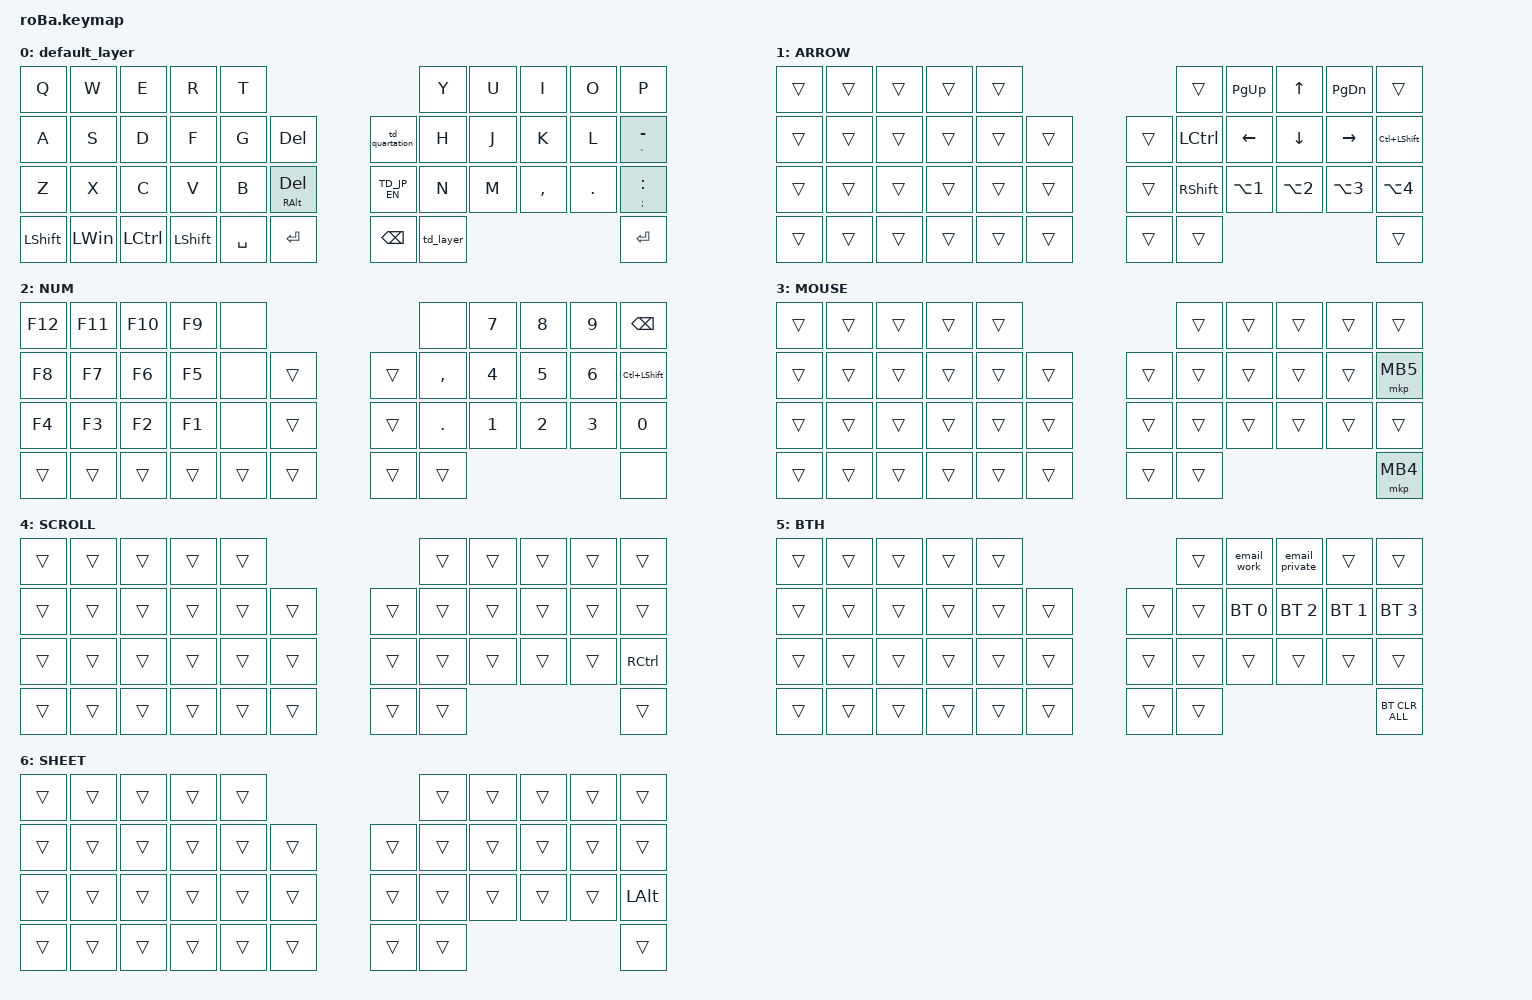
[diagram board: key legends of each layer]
#include <behaviors.dtsi>
#include <dt-bindings/zmk/bt.h>
#include <dt-bindings/zmk/keys.h>
#include <dt-bindings/zmk/pointing.h>

&mt {
    flavor = "balanced";
    quick-tap-ms = <0>;
};

&trackball {
    automouse-layer = <3>;
    scroll-layers = <4>;

    arrows {
        layers = <6>;
        bindings =
            <&kp LC(PAGE_DOWN)>,
            <&kp LC(PAGE_UP)>,
            <&kp LS(TAB)>,
            <&kp TAB>;

        tick = <100>;
        wait-ms = <20>;
        tap-ms = <20>;
    };
};

/ {
    combos {
        compatible = "zmk,combos";

        AZ_TAB {
            bindings = <&kp TAB>;
            key-positions = <10 0>;
        };

        eq {
            bindings = <&kp EQUAL>;
            key-positions = <6 7>;
        };

        SD_L_PAR {
            bindings = <&kp LPAR>;
            key-positions = <11 12>;
        };

        DF_R_PAR {
            bindings = <&kp RPAR>;
            key-positions = <12 13>;
        };

        WE_L_BKT {
            bindings = <&kp LBKT>;
            key-positions = <1 2>;
        };

        ER_R_BKT {
            bindings = <&kp RBKT>;
            key-positions = <2 3>;
        };

        RF_F2 {
            bindings = <&kp F2>;
            key-positions = <13 3>;
        };

        ED_F4 {
            bindings = <&kp F4>;
            key-positions = <12 2>;
        };

        DC_Ctrl_C {
            bindings = <&kp LC(C)>;
            key-positions = <12 24>;
        };

        FV_Ctrl_Sft_V {
            bindings = <&kp LC(LS(V))>;
            key-positions = <13 25>;
        };

        XCV_Ctrl_Alt_V {
            bindings = <&kp LA(LC(V))>;
            key-positions = <25 24 23>;
        };

        CV_Ctrl_V {
            bindings = <&kp LC(V)>;
            key-positions = <25 24>;
        };

        P_HASH {
            bindings = <&kp HASH>;
            key-positions = <9 21>;
        };

        OL_DALLAR {
            bindings = <&kp DOLLAR>;
            key-positions = <8 20>;
        };

        IK_PCNT {
            bindings = <&kp PRCNT>;
            key-positions = <7 19>;
        };

        UJ_AMPS {
            bindings = <&kp AMPS>;
            key-positions = <6 18>;
        };

        JM_STAR {
            bindings = <&kp STAR>;
            key-positions = <18 30>;
        };

        Combo_Ctrl_Sft_K {
            bindings = <&kp RS(RC(K))>;
            key-positions = <31 19>;
        };

        Combo_PLUS {
            bindings = <&kp PLUS>;
            key-positions = <7 8>;
        };

        Combo_Ctrl_Sft_L {
            bindings = <&kp LC(LS(L))>;
            key-positions = <20 32>;
        };

        Combo_SLSH {
            bindings = <&kp SLASH>;
            key-positions = <9 8>;
        };

        GF_Ctrl_Sft_X {
            bindings = <&kp LS(LC(X))>;
            key-positions = <14 13>;
        };

        Combo_AT {
            bindings = <&hankaku_at>;
            key-positions = <20 21>;
        };

        JK_exclamation {
            bindings = <&kp EXCL>;
            key-positions = <18 19>;
        };

        KL_question {
            bindings = <&kp QUESTION>;
            key-positions = <19 20>;
        };

        QA {
            bindings = <&kp LG(E)>;
            key-positions = <0 1 2>;
        };

        ZX_ctrl_Z {
            bindings = <&kp LC(Z)>;
            key-positions = <22 23>;
        };

        WS_ctrl_S {
            bindings = <&kp F12>;
            key-positions = <1 11>;
        };

        SCROLL {
            bindings = <&mo 4>;
            key-positions = <32 31>;
        };

        BTH {
            bindings = <&mo 5>;
            key-positions = <16 28>;
        };

        SX_ctrl_X {
            bindings = <&kp LC(X)>;
            key-positions = <11 23>;
        };

        AS_Sft {
            bindings = <&kp LEFT_SHIFT>;
            key-positions = <10 11>;
        };

        QW_esc_scr {
            bindings = <&mt LG(LS(S)) ESCAPE>;
            key-positions = <0 1>;
        };

        YU_ctrl_Y {
            bindings = <&kp RC(Y)>;
            key-positions = <5 6>;
        };

        grouping {
            bindings = <&kp LS(LA(RIGHT_ARROW))>;
            key-positions = <7 20>;
        };

        ungrouping {
            bindings = <&kp LS(LA(LEFT_ARROW))>;
            key-positions = <7 18>;
        };

        AZ_ctrl {
            bindings = <&kp LCTRL>;
            key-positions = <10 22>;
        };

        TR_Ctrl_Shft_R {
            bindings = <&kp LC(LS(R))>;
            key-positions = <3 2 1>;
        };

        SHEET {
            bindings = <&mo 6>;
            key-positions = <30 31 32>;
        };

        ctrl_sht {
            bindings = <&kp LS(LCTRL)>;
            key-positions = <10 11 12>;
        };

        mb1 {
            bindings = <&mkp MB1>;
            key-positions = <30 31>;
            layers = <3>;
        };

        mb3, {
            bindings = <&mkp MB3>;
            key-positions = <31 32 33>;
            layers = <3>;
        };

        mb2 {
            bindings = <&mkp MB2>;
            key-positions = <32 33>;
            layers = <3>;
        };

        Win_tab {
            bindings = <&kp LG(TAB)>;
            key-positions = <34 35 36>;
        };
    };

    macros {
        email_work: new_macro {
            compatible = "zmk,behavior-macro";
            #binding-cells = <0>;
            bindings = <&kp LANGUAGE_2 &kp H &kp I &kp R &kp O &kp K &kp I &kp N &kp A &kp K &kp A &kp J &kp O &kp AT &kp K &kp P &kp M &kp G &kp DOT &kp C &kp O &kp M>;
            label = "NEW_MACRO";
        };

        email_private: email_private {
            compatible = "zmk,behavior-macro";
            #binding-cells = <0>;
            bindings = <&kp LANGUAGE_2 &kp H &kp DOT &kp N &kp A &kp K &kp A &kp J &kp O &kp N0 &kp N8 &kp N2 &kp N4 &kp AT &kp G &kp M &kp A &kp I &kp L &kp DOT &kp C &kp O &kp M>;
            label = "EMAIL_PRIVATE";
        };

        hankaku_at: hankaku_at {
            compatible = "zmk,behavior-macro";
            #binding-cells = <0>;
            bindings = <&kp LANGUAGE_2 &kp AT_SIGN>;
            label = "HANKAKU_AT";
        };
    };

    behaviors {
        LYR_ARROW: LYR_ARROW {
            compatible = "zmk,behavior-hold-tap";
            label = "LYR_ARROW";
            bindings = <&mo>, <&kp>;

            #binding-cells = <2>;
            tapping-term-ms = <200>;
            hold-trigger-key-positions = <41>;
        };

        HT_hyphen: HT_hyphen {
            compatible = "zmk,behavior-hold-tap";
            label = "HT_HYPHEN";
            bindings = <&kp>, <&kp>;

            #binding-cells = <2>;
            tapping-term-ms = <250>;
            hold-trigger-key-positions = <21>;
            flavor = "balanced";
        };

        LYR_hold: LYR_hold {
            compatible = "zmk,behavior-hold-tap";
            label = "LYR_HOLD";
            bindings = <&mo>, <&mo>;

            #binding-cells = <2>;
            hold-trigger-key-positions = <41>;
            tapping-term-ms = <200>;
        };

        TD_JP_EN: TD_JP_EN {
            compatible = "zmk,behavior-tap-dance";
            label = "TD_JP_EN";
            #binding-cells = <0>;
            bindings = <&kp LANGUAGE_1>, <&kp LANG2>;

            tapping-term-ms = <250>;
        };

        td_layer: td_layer {
            compatible = "zmk,behavior-tap-dance";
            label = "TD_LAYER";
            #binding-cells = <0>;
            bindings = <&mo 1>, <&mo 2>;

            tapping-term-ms = <300>;
        };

        td_quartation: td_quartation {
            compatible = "zmk,behavior-tap-dance";
            label = "TD_QUARTATION";
            #binding-cells = <0>;
            bindings = <&kp SINGLE_QUOTE>, <&kp DOUBLE_QUOTES>;

            tapping-term-ms = <250>;
        };
    };

    keymap {
        compatible = "zmk,keymap";

        default_layer {
            bindings = <
&kp Q           &kp W         &kp E      &kp R      &kp T                                                &kp Y      &kp U  &kp I      &kp O    &kp P
&kp A           &kp S         &kp D      &kp F      &kp G      &kp DELETE                &td_quartation  &kp H      &kp J  &kp K      &kp L    &mt GRAVE MINUS
&kp Z           &kp X         &kp C      &kp V      &kp B      &mt RIGHT_ALT DELETE      &TD_JP_EN       &kp N      &kp M  &kp COMMA  &kp DOT  &mt SEMICOLON COLON
&kp LEFT_SHIFT  &kp LEFT_WIN  &kp LCTRL  &kp LSHFT  &kp SPACE  &kp ENTER                 &kp BACKSPACE   &td_layer                             &kp ENTER
            >;
        };

        ARROW {
            bindings = <
&trans  &trans  &trans  &trans  &trans                      &trans           &kp PAGE_UP       &kp UP_ARROW      &kp PAGE_DOWN     &trans
&trans  &trans  &trans  &trans  &trans  &trans      &trans  &kp LCTRL        &kp LEFT          &kp DOWN_ARROW    &kp RIGHT_ARROW   &kp LC(LSHFT)
&trans  &trans  &trans  &trans  &trans  &trans      &trans  &kp RIGHT_SHIFT  &kp LA(NUMBER_1)  &kp LA(NUMBER_2)  &kp LA(NUMBER_3)  &kp LA(NUMBER_4)
&trans  &trans  &trans  &trans  &trans  &trans      &trans  &trans                                                                 &trans
            >;
        };

        NUM {
            bindings = <
&kp F12  &kp F11  &kp F10  &kp F9  &none                       &none       &kp N7        &kp N8        &kp N9        &kp BACKSPACE
&kp F8   &kp F7   &kp F6   &kp F5  &none   &trans      &trans  &kp COMMA   &kp N4        &kp N5        &kp N6        &kp LC(LSHFT)
&kp F4   &kp F3   &kp F2   &kp F1  &none   &trans      &trans  &kp PERIOD  &kp NUMBER_1  &kp NUMBER_2  &kp NUMBER_3  &kp N0
&trans   &trans   &trans   &trans  &trans  &trans      &trans  &trans                                                &none
            >;
        };

        MOUSE {
            bindings = <
&trans  &trans  &trans  &trans  &trans                      &trans  &trans  &trans  &trans  &trans
&trans  &trans  &trans  &trans  &trans  &trans      &trans  &trans  &trans  &trans  &trans  &mkp MB5
&trans  &trans  &trans  &trans  &trans  &trans      &trans  &trans  &trans  &trans  &trans  &trans
&trans  &trans  &trans  &trans  &trans  &trans      &trans  &trans                          &mkp MB4
            >;
        };

        SCROLL {
            bindings = <
&trans  &trans  &trans  &trans  &trans                      &trans  &trans  &trans  &trans  &trans
&trans  &trans  &trans  &trans  &trans  &trans      &trans  &trans  &trans  &trans  &trans  &trans
&trans  &trans  &trans  &trans  &trans  &trans      &trans  &trans  &trans  &trans  &trans  &kp RCTRL
&trans  &trans  &trans  &trans  &trans  &trans      &trans  &trans                          &trans
            >;
        };

        BTH {
            bindings = <
&trans  &trans  &trans  &trans  &trans                      &trans  &email_work   &email_private  &trans        &trans
&trans  &trans  &trans  &trans  &trans  &trans      &trans  &trans  &bt BT_SEL 0  &bt BT_SEL 2    &bt BT_SEL 1  &bt BT_SEL 3
&trans  &trans  &trans  &trans  &trans  &trans      &trans  &trans  &trans        &trans          &trans        &trans
&trans  &trans  &trans  &trans  &trans  &trans      &trans  &trans                                              &bt BT_CLR_ALL
            >;
        };

        SHEET {
            bindings = <
&trans  &trans  &trans  &trans  &trans                      &trans  &trans  &trans  &trans  &trans
&trans  &trans  &trans  &trans  &trans  &trans      &trans  &trans  &trans  &trans  &trans  &trans
&trans  &trans  &trans  &trans  &trans  &trans      &trans  &trans  &trans  &trans  &trans  &kp LEFT_ALT
&trans  &trans  &trans  &trans  &trans  &trans      &trans  &trans                          &trans
            >;
        };
    };
};
